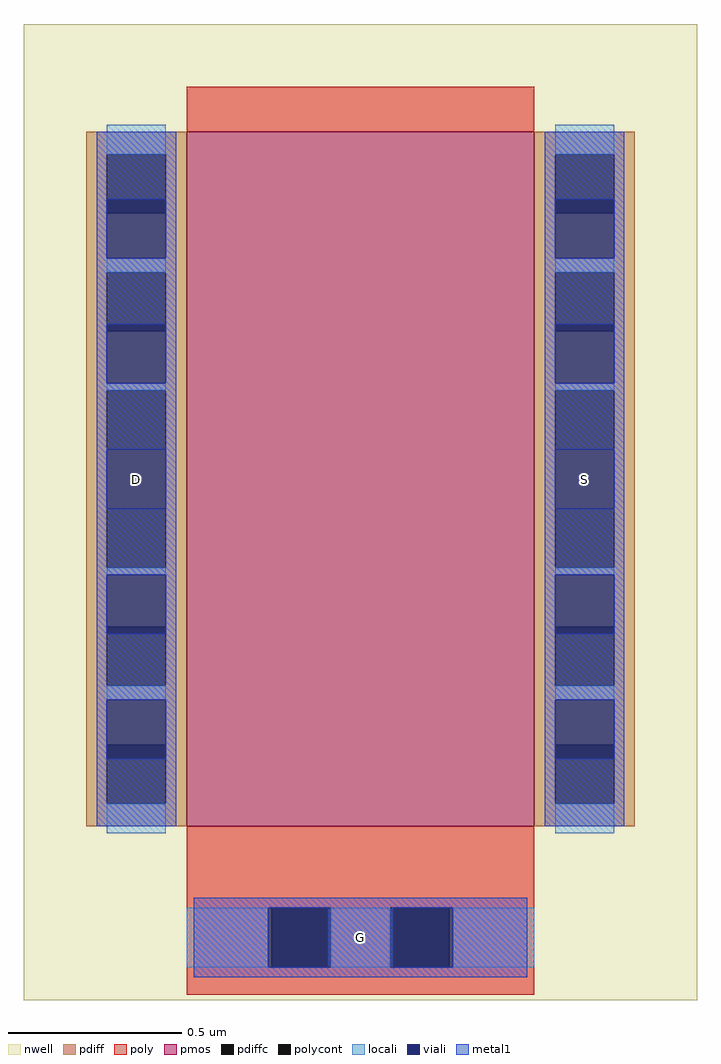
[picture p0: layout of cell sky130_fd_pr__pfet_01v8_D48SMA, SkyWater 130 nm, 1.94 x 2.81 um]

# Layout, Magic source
magic
tech sky130B
magscale 1 2
<< nwell >>
rect -194 -264 194 298
<< pmos >>
rect -100 -164 100 236
<< pdiff >>
rect -158 223 -100 236
rect -158 189 -146 223
rect -112 189 -100 223
rect -158 155 -100 189
rect -158 121 -146 155
rect -112 121 -100 155
rect -158 87 -100 121
rect -158 53 -146 87
rect -112 53 -100 87
rect -158 19 -100 53
rect -158 -15 -146 19
rect -112 -15 -100 19
rect -158 -49 -100 -15
rect -158 -83 -146 -49
rect -112 -83 -100 -49
rect -158 -117 -100 -83
rect -158 -151 -146 -117
rect -112 -151 -100 -117
rect -158 -164 -100 -151
rect 100 223 158 236
rect 100 189 112 223
rect 146 189 158 223
rect 100 155 158 189
rect 100 121 112 155
rect 146 121 158 155
rect 100 87 158 121
rect 100 53 112 87
rect 146 53 158 87
rect 100 19 158 53
rect 100 -15 112 19
rect 146 -15 158 19
rect 100 -49 158 -15
rect 100 -83 112 -49
rect 146 -83 158 -49
rect 100 -117 158 -83
rect 100 -151 112 -117
rect 146 -151 158 -117
rect 100 -164 158 -151
<< pdiffc >>
rect -146 189 -112 223
rect -146 121 -112 155
rect -146 53 -112 87
rect -146 -15 -112 19
rect -146 -83 -112 -49
rect -146 -151 -112 -117
rect 112 189 146 223
rect 112 121 146 155
rect 112 53 146 87
rect 112 -15 146 19
rect 112 -83 146 -49
rect 112 -151 146 -117
<< poly >>
rect -100 236 100 262
rect -100 -211 100 -164
rect -100 -245 -51 -211
rect -17 -245 17 -211
rect 51 -245 100 -211
rect -100 -261 100 -245
<< polycont >>
rect -51 -245 -17 -211
rect 17 -245 51 -211
<< locali >>
rect -146 223 -112 240
rect -146 155 -112 163
rect -146 87 -112 91
rect -146 -19 -112 -15
rect -146 -91 -112 -83
rect -146 -168 -112 -151
rect 112 223 146 240
rect 112 155 146 163
rect 112 87 146 91
rect 112 -19 146 -15
rect 112 -91 146 -83
rect 112 -168 146 -151
rect -100 -245 -53 -211
rect -17 -245 17 -211
rect 53 -245 100 -211
<< viali >>
rect -146 189 -112 197
rect -146 163 -112 189
rect -146 121 -112 125
rect -146 91 -112 121
rect -146 19 -112 53
rect -146 -49 -112 -19
rect -146 -53 -112 -49
rect -146 -117 -112 -91
rect -146 -125 -112 -117
rect 112 189 146 197
rect 112 163 146 189
rect 112 121 146 125
rect 112 91 146 121
rect 112 19 146 53
rect 112 -49 146 -19
rect 112 -53 146 -49
rect 112 -117 146 -91
rect 112 -125 146 -117
rect -53 -245 -51 -211
rect -51 -245 -19 -211
rect 19 -245 51 -211
rect 51 -245 53 -211
<< metal1 >>
rect -152 197 -106 236
rect -152 163 -146 197
rect -112 163 -106 197
rect -152 125 -106 163
rect -152 91 -146 125
rect -112 91 -106 125
rect -152 53 -106 91
rect -152 19 -146 53
rect -112 19 -106 53
rect -152 -19 -106 19
rect -152 -53 -146 -19
rect -112 -53 -106 -19
rect -152 -91 -106 -53
rect -152 -125 -146 -91
rect -112 -125 -106 -91
rect -152 -164 -106 -125
rect 106 197 152 236
rect 106 163 112 197
rect 146 163 152 197
rect 106 125 152 163
rect 106 91 112 125
rect 146 91 152 125
rect 106 53 152 91
rect 106 19 112 53
rect 146 19 152 53
rect 106 -19 152 19
rect 106 -53 112 -19
rect 146 -53 152 -19
rect 106 -91 152 -53
rect 106 -125 112 -91
rect 146 -125 152 -91
rect 106 -164 152 -125
rect -96 -211 96 -205
rect -96 -245 -53 -211
rect -19 -245 19 -211
rect 53 -245 96 -211
rect -96 -251 96 -245
<< labels >>
rlabel locali s 0 -228 0 -228 4 G
rlabel locali s 129 36 129 36 4 S
rlabel locali s -129 36 -129 36 4 D
<< end >>
